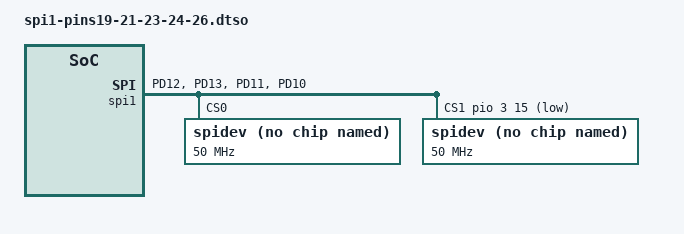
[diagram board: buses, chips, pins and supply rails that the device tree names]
// SPDX-License-Identifier: (GPL-2.0+ OR MIT)
// Mangue OS header overlay spi1-pins19-21-23-24-26 — GENERATED by tools/gen_overlays.py,
// edit overlays/header_table.py instead.
//
// pin port  role
//  19 PD12  mosi
//  21 PD13  miso
//  23 PD11  clk
//  24 PD10  cs0
//  26 PD15  cs1-gpio
// device: /dev/spidev1.0 + /dev/spidev1.1

/dts-v1/;
/plugin/;

#include <dt-bindings/gpio/gpio.h>
#include <dt-bindings/interrupt-controller/irq.h>
#include <dt-bindings/input/linux-event-codes.h>

&pio {
	mq_spi1_pins19_21_23_24_26_pins: spi1-pins19-21-23-24-26-pins {
		pins = "PD12", "PD13", "PD11", "PD10";
		function = "spi1";
	};
};

&spi1 {
	pinctrl-names = "default";
	pinctrl-0 = <&mq_spi1_pins19_21_23_24_26_pins>;
	cs-gpios = <0>, <&pio 3 15 (GPIO_ACTIVE_LOW)>;
	#address-cells = <1>;
	#size-cells = <0>;
	status = "okay";

	spidev@0 {
		compatible = "rohm,dh2228fv";
		reg = <0>;
		spi-max-frequency = <50000000>;
	};
	spidev@1 {
		compatible = "rohm,dh2228fv";
		reg = <1>;
		spi-max-frequency = <50000000>;
	};
};
